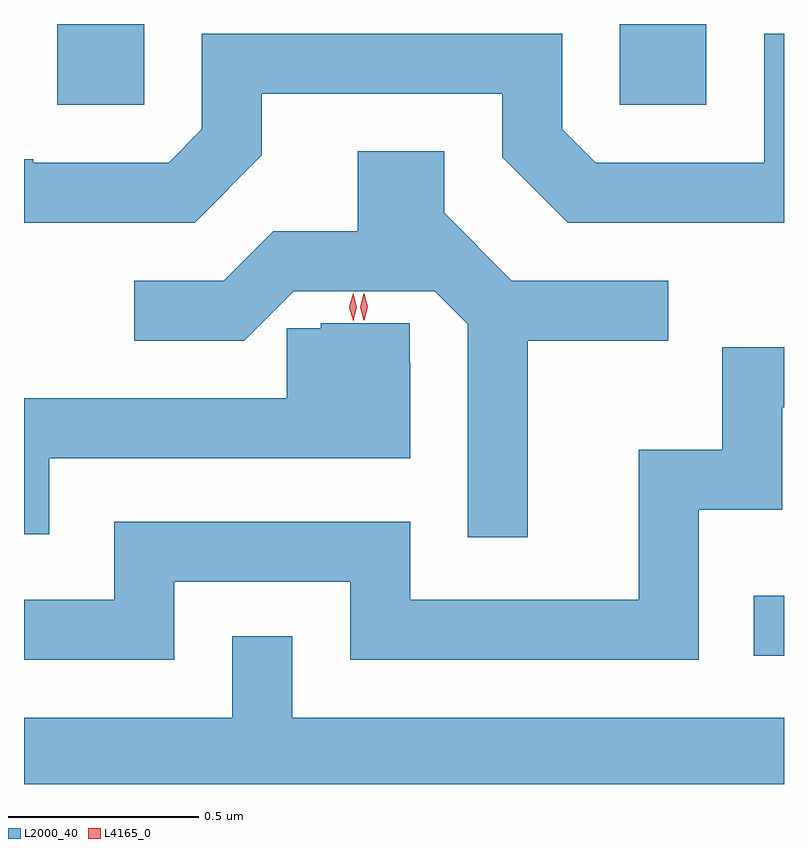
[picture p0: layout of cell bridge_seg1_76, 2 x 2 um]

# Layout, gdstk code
import gdstk
lib = gdstk.Library(unit=1e-6, precision=1e-09)
def R(c, l, rs):  # rectangles x0, y0, x1, y1
    for r in rs: c.add(gdstk.rectangle(r[:2], r[2:], *l))
def P(c, l, *ps):  # polygons
    for p in ps: c.add(gdstk.Polygon(p, *l))
L2000_40 = (2000, 40)
L4165_0 = (4165, 0)

bridge_seg1_76 = lib.new_cell('bridge_seg1_76')
R(bridge_seg1_76, L2000_40, [(1861.923,882.246,1862.003,882.404), (1860.091,883.696,1860.319,883.909), (1861.571,883.696,1861.799,883.909)])
P(bridge_seg1_76, L2000_40, [(1860.629,883.564),(1860.629,883.726),(1861.261,883.726),(1861.261,883.559),(1861.434,883.386),(1862.003,883.386),(1862.003,883.884),(1861.951,883.884),(1861.951,883.544),(1861.507,883.544),(1861.419,883.632),(1861.419,883.884),(1860.471,883.884),(1860.471,883.632),(1860.384,883.544),(1860.027,883.544),(1860.027,883.553),(1860.003,883.553),(1860.003,883.386),(1860.452,883.386)],
  [(1861.329,883.076),(1861.698,883.076),(1861.698,883.234),(1861.287,883.234),(1861.109,883.412),(1861.109,883.574),(1860.881,883.574),(1860.881,883.364),(1860.659,883.364),(1860.529,883.234),(1860.293,883.234),(1860.293,883.076),(1860.583,883.076),(1860.713,883.206),(1861.084,883.206),(1861.171,883.119),(1861.171,882.558),(1861.329,882.558)],
  [(1860.069,882.766),(1861.019,882.766),(1861.019,883.019),(1861.018,883.019),(1861.018,883.122),(1860.784,883.122),(1860.784,883.109),(1860.694,883.109),(1860.694,882.924),(1860.003,882.924),(1860.003,882.566),(1860.069,882.566)],
  [(1860.399,882.441),(1860.861,882.441),(1860.861,882.236),(1861.779,882.236),(1861.779,882.631),(1861.999,882.631),(1861.999,882.901),(1862.003,882.901),(1862.003,883.059),(1861.841,883.059),(1861.841,882.789),(1861.621,882.789),(1861.621,882.394),(1861.019,882.394),(1861.019,882.599),(1860.241,882.599),(1860.241,882.394),(1860.003,882.394),(1860.003,882.236),(1860.399,882.236)],
  [(1862.003,882.084),(1860.709,882.084),(1860.709,882.298),(1860.551,882.298),(1860.551,882.084),(1860.003,882.084),(1860.003,881.909),(1862.003,881.909)])
P(bridge_seg1_76, L4165_0, [(1860.869,883.127),(1860.869,883.128),(1860.859,883.164),(1860.869,883.201),(1860.869,883.202),(1860.87,883.201),(1860.879,883.164),(1860.87,883.128)],
  [(1860.898,883.129),(1860.897,883.13),(1860.888,883.164),(1860.897,883.199),(1860.897,883.2),(1860.898,883.199),(1860.907,883.165),(1860.898,883.13)])

lib.write_gds('bridge_seg1_76.gds')
